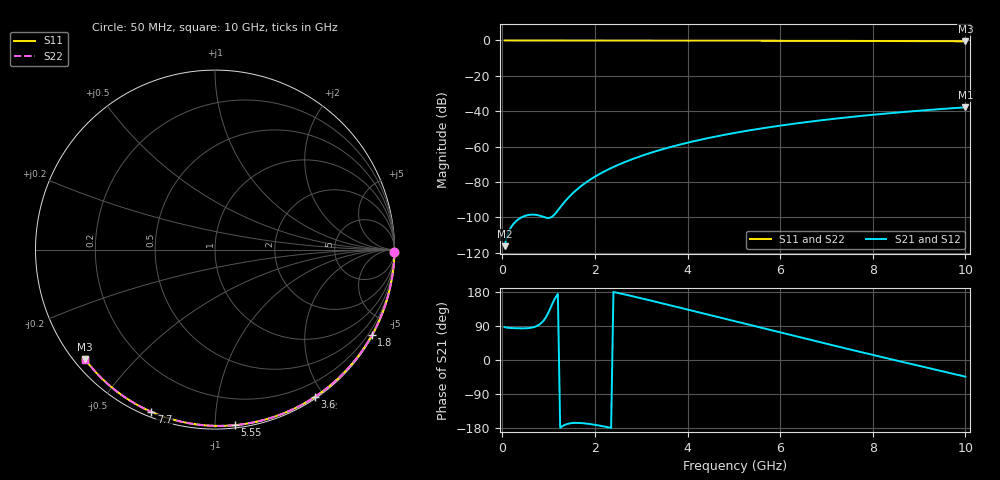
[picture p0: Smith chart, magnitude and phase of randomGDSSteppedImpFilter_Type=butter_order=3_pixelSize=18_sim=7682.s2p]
! freq	dB(S11)	phase(S11)	dB(S12)	phase(S12)
!  dB(S21)	phase(S21)	dB(S22)	phase(S22)
!S-par simulation data
#  GHz  S  DB  R 50
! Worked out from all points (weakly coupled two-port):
!   200 points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, 50 MHz to 10 GHz, reference 50 ohm
!   highest |S21| = -37.77 dB at 10 GHz (marker M1); lowest = -116.2 dB at 50 MHz (marker M2)
!   lowest |S11| = -0.5 dB at 10 GHz (marker M3), VSWR 36.78, Z = 1.54 - j18.3 ohm
!   |S11| at or under -10 dB: nowhere
!   |S22| runs from -0.5 to 0.0 dB; largest |S21 - S12| = 0
!   S11 on the Smith chart (normalised r, x): 50 MHz: open; 1.8 GHz: 0.03, -3.91; 3.6 GHz: 0.02, -1.88; 5.55 GHz: 0.02, -1.12; 7.7 GHz: 0.02, -0.68; 10 GHz: 0.03, -0.37
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0.05  -0.00 -0.8  -116.22 86.9  -116.22 86.9  -0.00 -0.8
0.45  -0.01 -7.3  -99.51 83.5  -99.51 83.5  -0.01 -7.3
0.9  -0.02 -14.5  -99.78 105.2  -99.78 105.2  -0.02 -14.5
1.75  -0.04 -27.9  -81.31 -166.9  -81.31 -166.9  -0.04 -27.9
1.8  -0.04 -28.7  -80.36 -167.5  -80.36 -167.5  -0.04 -28.6
1.85  -0.04 -29.4  -79.46 -168.3  -79.46 -168.3  -0.04 -29.4
2  -0.04 -31.8  -76.97 -171.0  -76.97 -171.0  -0.04 -31.8
2.15  -0.04 -34.1  -74.74 -174.3  -74.74 -174.3  -0.04 -34.1
2.35  -0.05 -37.2  -72.10 -179.2  -72.10 -179.2  -0.05 -37.2
2.55  -0.05 -40.2  -69.75 175.6  -69.75 175.6  -0.05 -40.2
2.95  -0.06 -46.3  -65.71 164.3  -65.71 164.3  -0.06 -46.3
3.4  -0.07 -53.0  -61.93 151.1  -61.93 151.1  -0.07 -53.0
3.6  -0.08 -56.0  -60.45 145.2  -60.45 145.2  -0.08 -55.9
4.3  -0.09 -66.1  -55.97 124.0  -55.97 124.0  -0.09 -66.1
5.05  -0.12 -76.7  -52.09 101.3  -52.09 101.3  -0.12 -76.6
5.55  -0.14 -83.5  -49.89 86.1  -49.89 86.1  -0.14 -83.4
6.1  -0.16 -90.9  -47.75 69.6  -47.75 69.6  -0.16 -90.8
6.7  -0.19 -98.7  -45.69 51.7  -45.69 51.7  -0.19 -98.7
7.7  -0.26 -111.5  -42.77 22.2  -42.77 22.2  -0.25 -111.4
8.35  -0.31 -119.6  -41.14 3.3  -41.14 3.3  -0.31 -119.5
9.2  -0.38 -130.0  -39.28 -21.2  -39.28 -21.2  -0.38 -129.9
10  -0.47 -139.8  -37.77 -44.0  -37.77 -44.0  -0.47 -139.7
